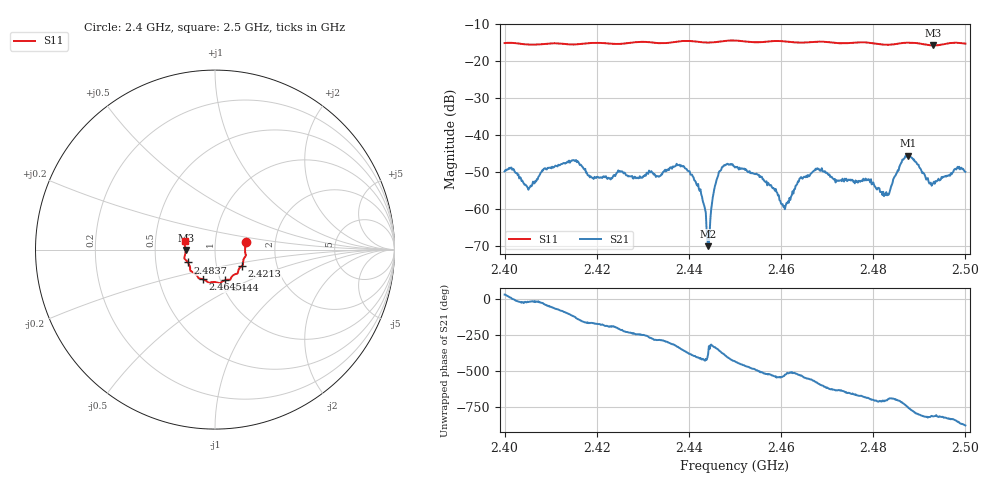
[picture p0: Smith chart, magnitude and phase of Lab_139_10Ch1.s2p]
# Hz S RI R 50
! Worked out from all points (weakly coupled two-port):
!   601 points, 2.4 GHz to 2.5 GHz, reference 50 ohm
!   highest |S21| = -45.60 dB at 2.4875 GHz (marker M1); lowest = -70.2 dB at 2.4442 GHz (marker M2)
!   lowest |S11| = -15.7 dB at 2.493 GHz (marker M3), VSWR 1.39, Z = 36 - j0.206 ohm
!   |S11| at or under -10 dB: start of sweep to end of sweep
!   S12 and S22 are empty: the file has one direction only
!   S11 on the Smith chart (normalised r, x): 2.4 GHz: 1.41, +0.12; 2.4213 GHz: 1.33, -0.25; 2.444 GHz: 1.06, -0.37; 2.4645 GHz: 0.83, -0.29; 2.4837 GHz: 0.73, -0.11; 2.5 GHz: 0.71, +0.07
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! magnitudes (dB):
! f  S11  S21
! 2.4 GHz  -15.1  -49.9
! 2.4053 GHz  -15.5  -54.3
! 2.409 GHz  -15.3  -49.3
! 2.4167 GHz  -15.3  -48.3
! 2.4213 GHz  -15.1  -51.4
! 2.4333 GHz  -15.1  -51.2
! 2.4375 GHz  -14.7  -48.2
! 2.4403 GHz  -14.5  -50.8
! 2.4425 GHz  -14.8  -54.7
! 2.444 GHz  -15.0  -68.3
! 2.4442 GHz  -15.0  -70.2
! 2.4465 GHz  -14.7  -50.1
! 2.45 GHz  -14.4  -48.8
! 2.4553 GHz  -14.9  -51.4
! 2.4605 GHz  -14.6  -59.5
! 2.4645 GHz  -15.0  -51.7
! 2.4667 GHz  -14.8  -50.3
! 2.4833 GHz  -15.6  -56.2
! 2.4837 GHz  -15.5  -55.0
! 2.4875 GHz  -15.0  -45.6
! 2.493 GHz  -15.7  -53.1
! 2.5 GHz  -15.3  -50.0
